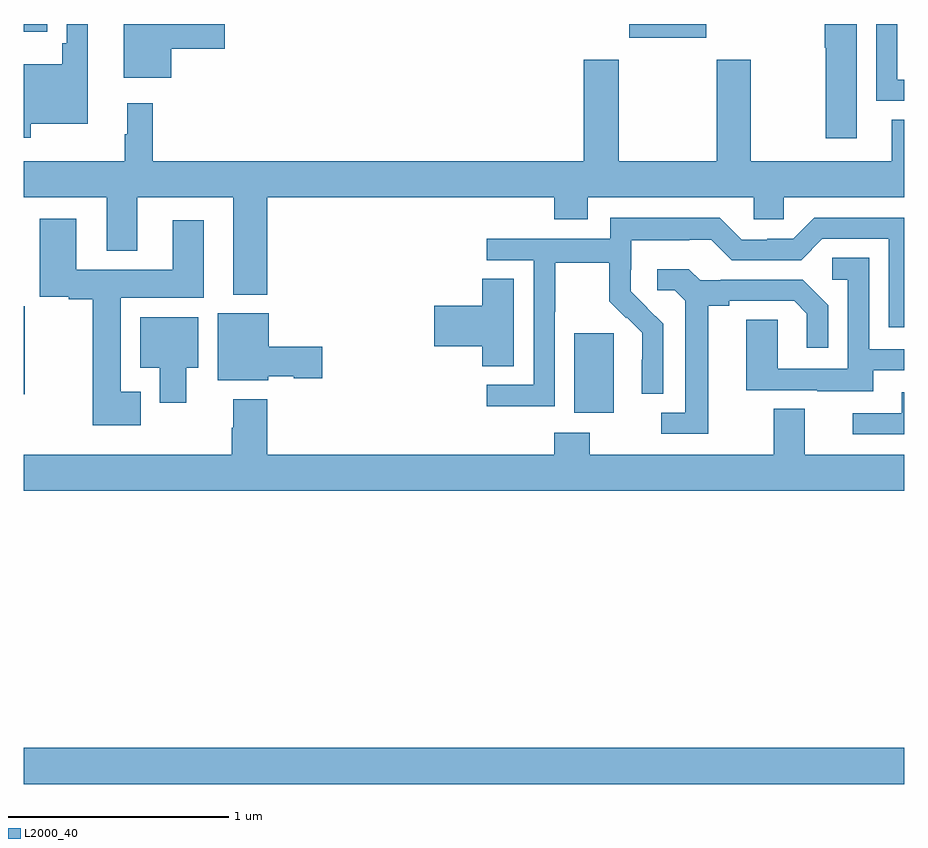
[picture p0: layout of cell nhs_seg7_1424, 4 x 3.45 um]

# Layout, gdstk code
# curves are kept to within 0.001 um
import gdstk
lib = gdstk.Library(unit=1e-6, precision=1e-09)
def R(c, l, rs):  # rectangles x0, y0, x1, y1
    for r in rs: c.add(gdstk.rectangle(r[:2], r[2:], *l))
def P(c, l, *ps):  # polygons
    for p in ps: c.add(gdstk.Polygon(p, *l))
L2000_40 = (2000, 40)

nhs_seg7_1424 = lib.new_cell('nhs_seg7_1424')
R(nhs_seg7_1424, L2000_40, [(207,1068.548,211,1068.712), (209.501,1070.234,209.68,1070.595), (209.75,1071.938,210.1,1072), (207,1071.965,207.106,1072)])
P(nhs_seg7_1424, L2000_40, [(210.784,1072),(210.638,1072),(210.638,1071.892),(210.643,1071.892),(210.643,1071.48),(210.784,1071.48)],
  [(211,1071.747),(210.969,1071.747),(210.969,1072),(210.873,1072),(210.873,1071.651),(211,1071.651)],
  [(207.67,1071.887),(207.913,1071.887),(207.913,1072),(207.455,1072),(207.455,1071.755),(207.67,1071.755)],
  [(207.031,1071.548),(207.292,1071.548),(207.292,1072),(207.195,1072),(207.195,1071.913),(207.175,1071.913),(207.175,1071.817),(207,1071.817),(207,1071.483),(207.031,1071.483)],
  [(208.106,1071.212),(209.411,1071.212),(209.411,1071.113),(209.563,1071.113),(209.563,1071.212),(210.315,1071.212),(210.315,1071.114),(210.453,1071.114),(210.453,1071.212),(211,1071.212),(211,1071.566),(210.944,1071.566),(210.944,1071.376),(210.303,1071.376),(210.303,1071.838),(210.148,1071.838),(210.148,1071.376),(209.703,1071.376),(209.703,1071.838),(209.543,1071.838),(209.543,1071.376),(207.587,1071.376),(207.587,1071.64),(207.47,1071.64),(207.47,1071.5),(207.459,1071.5),(207.459,1071.376),(207,1071.376),(207,1071.212),(207.377,1071.212),(207.377,1070.969),(207.517,1070.969),(207.517,1071.212),(207.953,1071.212),(207.953,1070.771),(208.106,1070.771)],
  [(209.412,1070.692),(209.415,1070.692),(209.415,1070.916),(209.659,1070.916),(209.659,1070.741),(209.736,1070.664),(209.739,1070.667),(209.81,1070.597),(209.81,1070.474),(209.808,1070.474),(209.808,1070.32),(209.904,1070.32),(209.904,1070.638),(209.758,1070.786),(209.758,1070.883),(209.76,1070.883),(209.76,1071.017),(210.023,1071.017),(210.023,1071.021),(210.123,1071.021),(210.216,1070.928),(210.531,1070.928),(210.627,1071.024),(210.93,1071.024),(210.93,1070.622),(211,1070.622),(211,1071.12),(210.591,1071.12),(210.495,1071.024),(210.377,1071.024),(210.377,1071.021),(210.261,1071.021),(210.161,1071.121),(209.664,1071.121),(209.664,1071.024),(209.103,1071.024),(209.103,1070.928),(209.316,1070.928),(209.316,1070.361),(209.103,1070.361),(209.103,1070.263),(209.412,1070.263)],
  [(207.532,1070.329),(207.442,1070.329),(207.442,1070.756),(207.817,1070.756),(207.817,1071.109),(207.677,1071.109),(207.677,1070.884),(207.238,1070.884),(207.238,1071.115),(207.073,1071.115),(207.073,1070.762),(207.204,1070.762),(207.204,1070.75),(207.313,1070.75),(207.313,1070.177),(207.532,1070.177)],
  [(210.859,1070.427),(211,1070.427),(211,1070.523),(210.84,1070.523),(210.84,1070.939),(210.672,1070.939),(210.672,1070.838),(210.744,1070.838),(210.744,1070.433),(210.426,1070.433),(210.426,1070.657),(210.281,1070.657),(210.281,1070.337),(210.605,1070.337),(210.605,1070.333),(210.859,1070.333)],
  [(210.109,1070.72),(210.205,1070.72),(210.205,1070.742),(210.5,1070.742),(210.557,1070.685),(210.557,1070.529),(210.654,1070.529),(210.654,1070.722),(210.538,1070.838),(210.166,1070.838),(210.166,1070.835),(210.072,1070.835),(210.02,1070.887),(209.877,1070.887),(209.877,1070.79),(209.958,1070.79),(210.005,1070.743),(210.005,1070.235),(209.895,1070.235),(209.895,1070.139),(210.109,1070.139)],
  [(209.227,1070.843),(209.084,1070.843),(209.084,1070.72),(208.866,1070.72),(208.866,1070.537),(209.084,1070.537),(209.084,1070.446),(209.227,1070.446)],
  [(207.006,1070.603),(207.005,1070.603),(207.005,1070.719),(207,1070.719),(207,1070.319),(207.006,1070.319)],
  [(208.11,1070.399),(208.227,1070.399),(208.227,1070.392),(208.357,1070.392),(208.357,1070.534),(208.114,1070.534),(208.114,1070.686),(207.881,1070.686),(207.881,1070.381),(208.11,1070.381)],
  [(207.739,1070.438),(207.793,1070.438),(207.793,1070.668),(207.53,1070.668),(207.53,1070.438),(207.617,1070.438),(207.617,1070.28),(207.739,1070.28)],
  [(211,1070.328),(210.989,1070.328),(210.989,1070.232),(210.765,1070.232),(210.765,1070.136),(211,1070.136)],
  [(211,1070.044),(210.547,1070.044),(210.547,1070.252),(210.407,1070.252),(210.407,1070.044),(209.571,1070.044),(209.571,1070.143),(209.411,1070.143),(209.411,1070.044),(208.106,1070.044),(208.106,1070.296),(207.953,1070.296),(207.953,1070.165),(207.946,1070.165),(207.946,1070.044),(207,1070.044),(207,1069.88),(211,1069.88)])

lib.write_gds('nhs_seg7_1424.gds')
